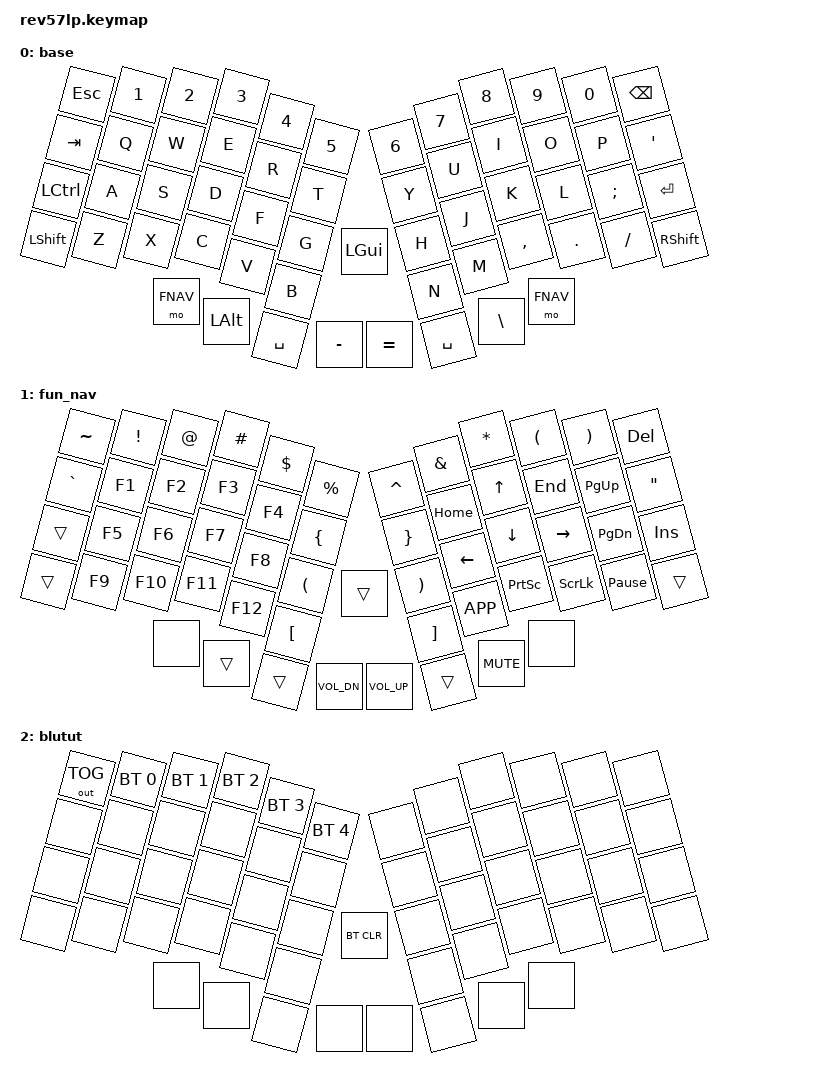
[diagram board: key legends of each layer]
/*
 * Copyright (c) 2022 The ZMK Contributors
 *
 * SPDX-License-Identifier: MIT
 */

#include <behaviors.dtsi>
#include <dt-bindings/zmk/keys.h>
#include <dt-bindings/zmk/bt.h>
#include <dt-bindings/zmk/outputs.h>

#define BASE    0
#define FNAV    1
#define BT      2

/ {
    combos {
        compatible = "zmk,combos";

        combo_BOOT {
            timeout-ms = <50>;
            key-positions = <4 5 6 7>;
            bindings = <&bootloader>;
        };

        combo_BT {
            timeout-ms = <50>;
            key-positions = <49 56>;
            bindings = <&mo BT>;
        };

        combo_UNLOCK {
            timeout-ms = <50>;
            key-positions = <52 53>;
            bindings = <&studio_unlock>;
        };
    };

    keymap {
        compatible = "zmk,keymap";

        base {
            bindings = <
                &kp ESC      &kp N1     &kp N2    &kp N3    &kp N4     &kp N5                           &kp N6     &kp N7     &kp N8     &kp N9    &kp N0     &kp BSPC
                &kp TAB      &kp Q      &kp W     &kp E     &kp R      &kp T                            &kp Y      &kp U      &kp I      &kp O     &kp P      &kp SQT
                &kp LCTRL    &kp A      &kp S     &kp D     &kp F      &kp G          &kp LGUI          &kp H      &kp J      &kp K      &kp L     &kp SEMI   &kp RET
                &kp LSHIFT   &kp Z      &kp X     &kp C     &kp V      &kp B                            &kp N      &kp M      &kp COMMA  &kp DOT   &kp SLASH  &kp RSHIFT
                                                  &mo FNAV  &kp LALT   &kp SPACE  &kp MINUS  &kp EQUAL  &kp SPACE  &kp BSLH   &mo FNAV
                >;
        };

        fun_nav {
            bindings = <
                &kp TILDE  &kp EXCL  &kp AT   &kp HASH  &kp DLLR  &kp PRCNT                             &kp CARET  &kp AMPS   &kp ASTRK  &kp LPAR   &kp RPAR        &kp DEL
                &kp GRAVE  &kp F1    &kp F2   &kp F3    &kp F4    &kp LBRC                              &kp RBRC   &kp HOME   &kp UP     &kp END    &kp PG_UP       &kp DQT
                &trans     &kp F5    &kp F6   &kp F7    &kp F8    &kp LPAR          &trans              &kp RPAR   &kp LEFT   &kp DOWN   &kp RIGHT  &kp PG_DN       &kp INS
                &trans     &kp F9    &kp F10  &kp F11   &kp F12   &kp LBKT                              &kp RBKT   &kp K_APP  &kp PSCRN  &kp SLCK   &kp PAUSE_BREAK &trans
                                              &none     &trans    &trans    &kp C_VOL_DN  &kp C_VOL_UP  &trans     &kp C_MUTE &none
                >;
        };

        blutut {
            bindings = <
                &out OUT_TOG  &bt BT_SEL 0  &bt BT_SEL 1  &bt BT_SEL 2  &bt BT_SEL 3  &bt BT_SEL 4           &none  &none  &none  &none  &none  &none
                &none         &none         &none         &none         &none         &none                  &none  &none  &none  &none  &none  &none
                &none         &none         &none         &none         &none         &none     &bt BT_CLR   &none  &none  &none  &none  &none  &none
                &none         &none         &none         &none         &none         &none                  &none  &none  &none  &none  &none  &none
                                                                        &none  &none  &none   &none  &none   &none  &none  &none
                >;
        };

        extra1 {
            status = "reserved";
        };

        extra2 {
            status = "reserved";
        };

        extra3 {
            status = "reserved";
        };
    };
};
